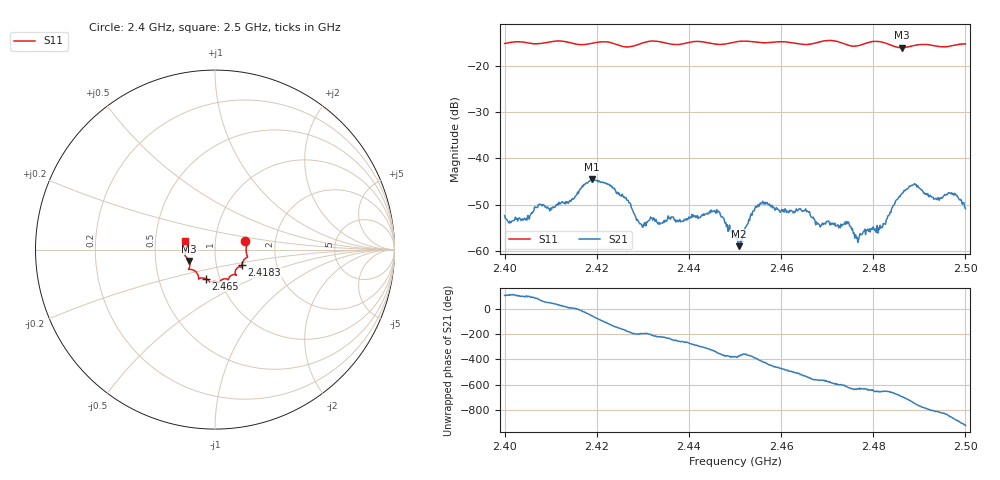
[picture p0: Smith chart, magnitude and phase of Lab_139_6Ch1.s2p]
# Hz S RI R 50
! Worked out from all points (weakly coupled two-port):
!   601 points, 2.4 GHz to 2.5 GHz, reference 50 ohm
!   highest |S21| = -44.49 dB at 2.419 GHz (marker M1); lowest = -58.9 dB at 2.4508 GHz (marker M2)
!   lowest |S11| = -16.1 dB at 2.4862 GHz (marker M3), VSWR 1.37, Z = 37.2 - j4.89 ohm
!   |S11| at or under -10 dB: start of sweep to end of sweep
!   S12 and S22 are empty: the file has one direction only
!   S11 on the Smith chart (normalised r, x): 2.4 GHz: 1.40, +0.14; 2.4183 GHz: 1.33, -0.24; 2.465 GHz: 0.86, -0.29; 2.5 GHz: 0.71, +0.07
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2.4e9  0.1679 0.0472  -0.000718 0.00231  0 0  0 0
2.404333e9  0.1779 0.0241  -0.000229 0.00225  0 0  0 0
2.416667e9  0.1551 -0.0678  0.00464 -0.00122  0 0  0 0
2.418333e9  0.15 -0.086  0.00422 -0.00381  0 0  0 0
2.419e9  0.1495 -0.0918  0.00334 -0.00494  0 0  0 0
2.426e9  0.1259 -0.1002  -0.00374 -0.000902  0 0  0 0
2.4295e9  0.1127 -0.1324  -0.00192 0.000481  0 0  0 0
2.433333e9  0.1172 -0.1413  -0.00154 0.00122  0 0  0 0
2.446e9  0.0539 -0.1626  0.0027 0.000766  0 0  0 0
2.45e9  0.0258 -0.1793  0.00145 -0.000436  0 0  0 0
2.450833e9  0.0233 -0.1824  0.00111 -0.00023  0 0  0 0
2.4555e9  0.00384 -0.1787  0.00219 -0.0025  0 0  0 0
2.465e9  -0.0525 -0.162  -0.00269 -0.000445  0 0  0 0
2.466667e9  -0.0706 -0.1577  -0.00223 0.000618  0 0  0 0
2.474333e9  -0.0967 -0.1381  -0.000472 0.00192  0 0  0 0
2.4765e9  -0.1155 -0.1168  0.000107 0.0014  0 0  0 0
2.483333e9  -0.1414 -0.0965  0.000952 0.00223  0 0  0 0
2.486167e9  -0.1432 -0.0641  0.0037 0.00186  0 0  0 0
2.488833e9  -0.1607 -0.0413  0.0048 -0.00214  0 0  0 0
2.493333e9  -0.1638 -0.0167  0.000113 -0.00366  0 0  0 0
2.4975e9  -0.1637 0.0311  -0.00344 -0.00208  0 0  0 0
2.5e9  -0.1658 0.0476  -0.00266 0.00107  0 0  0 0
